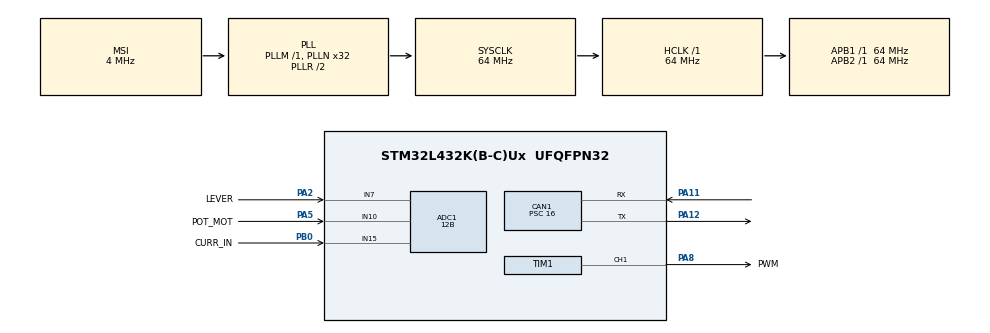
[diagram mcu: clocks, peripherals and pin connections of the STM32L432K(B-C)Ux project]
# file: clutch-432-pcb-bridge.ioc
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ADC1.Channel-0\#ChannelRegularConversion=ADC_CHANNEL_7
ADC1.Channel-1\#ChannelRegularConversion=ADC_CHANNEL_10
ADC1.Channel-2\#ChannelRegularConversion=ADC_CHANNEL_15
ADC1.ClockPrescaler=ADC_CLOCK_ASYNC_DIV16
ADC1.ContinuousConvMode=ENABLE
ADC1.DMAContinuousRequests=ENABLE
ADC1.DiscontinuousConvMode=DISABLE
ADC1.NbrOfConversion=3
ADC1.NbrOfConversionFlag=1
ADC1.OffsetNumber-0\#ChannelRegularConversion=ADC_OFFSET_NONE
ADC1.OffsetNumber-1\#ChannelRegularConversion=ADC_OFFSET_NONE
ADC1.OffsetNumber-2\#ChannelRegularConversion=ADC_OFFSET_NONE
ADC1.Rank-0\#ChannelRegularConversion=1
ADC1.Rank-1\#ChannelRegularConversion=2
ADC1.Rank-2\#ChannelRegularConversion=3
ADC1.Resolution=ADC_RESOLUTION_12B
ADC1.SamplingTime-0\#ChannelRegularConversion=ADC_SAMPLETIME_92CYCLES_5
ADC1.SamplingTime-1\#ChannelRegularConversion=ADC_SAMPLETIME_92CYCLES_5
ADC1.SamplingTime-2\#ChannelRegularConversion=ADC_SAMPLETIME_92CYCLES_5
ADC1.master=1
CAN1.BS1=CAN_BS1_2TQ
CAN1.BS2=CAN_BS2_1TQ
CAN1.CalculateBaudRate=1000000
CAN1.CalculateTimeBit=1000
CAN1.CalculateTimeQuantum=250.0
CAN1.Prescaler=16
Dma.ADC1.0.Direction=DMA_PERIPH_TO_MEMORY
Dma.ADC1.0.Instance=DMA1_Channel1
Dma.ADC1.0.MemDataAlignment=DMA_MDATAALIGN_HALFWORD
Dma.ADC1.0.MemInc=DMA_MINC_ENABLE
Dma.ADC1.0.Mode=DMA_CIRCULAR
Dma.ADC1.0.PeriphDataAlignment=DMA_PDATAALIGN_HALFWORD
Dma.ADC1.0.PeriphInc=DMA_PINC_DISABLE
Dma.ADC1.0.Priority=DMA_PRIORITY_LOW
Dma.Request0=ADC1
Mcu.Family=STM32L4
Mcu.Name=STM32L432K(B-C)Ux
Mcu.Package=UFQFPN32
NVIC.DMA1_Channel1_IRQn=true\:0\:0\:false\:false\:true\:false\:true\:true
NVIC.PriorityGroup=NVIC_PRIORITYGROUP_4
NVIC.TIM1_BRK_TIM15_IRQn=true\:0\:0\:false\:false\:true\:true\:true\:true
NVIC.TIM1_UP_TIM16_IRQn=true\:0\:0\:false\:false\:true\:true\:true\:true
NVIC.TIM7_IRQn=true\:0\:0\:false\:false\:true\:true\:true\:true
PA0.Mode=HSE-External-Clock-Source-for-LittleOrca
PA0.Signal=RCC_CK_IN
PA11.Mode=CAN_Activate
PA11.Signal=CAN1_RX
PA12.Mode=CAN_Activate
PA12.Signal=CAN1_TX
PA2.GPIO_Label=LEVER
PA2.Signal=ADCx_IN7
PA5.GPIO_Label=POT_MOT
PA5.Signal=ADCx_IN10
PA8.GPIO_Label=PWM
PA8.Signal=S_TIM1_CH1
PB0.GPIO_Label=CURR_IN
PB0.Signal=ADCx_IN15
ProjectManager.HeapSize=0x200
ProjectManager.StackSize=0x400
ProjectManager.TargetToolchain=STM32CubeIDE
RCC.ADCFreq_Value=8000000
RCC.AHBFreq_Value=64000000
RCC.APB1Freq_Value=64000000
RCC.APB1TimFreq_Value=64000000
RCC.APB2Freq_Value=64000000
RCC.APB2TimFreq_Value=64000000
RCC.CortexFreq_Value=64000000
RCC.HCLKFreq_Value=64000000
RCC.HSE_VALUE=8000000
RCC.HSI48_VALUE=48000000
RCC.HSI_VALUE=16000000
RCC.LSE_VALUE=32768
RCC.MSI_VALUE=4000000
RCC.PLLN=32
RCC.PLLSAI1N=16
RCC.PLLSAI1R=RCC_PLLR_DIV8
RCC.SYSCLKFreq_VALUE=64000000
RCC.SYSCLKSource=RCC_SYSCLKSOURCE_PLLCLK
RCC.USBFreq_Value=32000000
RCC.VCOOutputFreq_Value=128000000
SH.ADCx_IN10.0=ADC1_IN10,IN10-Single-Ended
SH.ADCx_IN15.0=ADC1_IN15,IN15-Single-Ended
SH.ADCx_IN7.0=ADC1_IN7,IN7-Single-Ended
SH.S_TIM1_CH1.0=TIM1_CH1,PWM Generation1 CH1
TIM1.Channel-PWM\ Generation1\ CH1=TIM_CHANNEL_1
TIM1.Period=100-1
TIM1.Prescaler=80-1
TIM1.Pulse-PWM\ Generation1\ CH1=50
TIM7.Period=40 - 1
TIM7.Prescaler=100 - 1
VP_TIM1_VS_ClockSourceINT.Mode=Internal
VP_TIM7_VS_ClockSourceINT.Mode=Enable_Timer
board=custom

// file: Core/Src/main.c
/* USER CODE BEGIN Header */
/**
  ******************************************************************************
  * @file           : main.c
  * @brief          : Main program body
  ******************************************************************************
  * @attention
  *
  * Copyright (c) 2022 STMicroelectronics.
  * All rights reserved.
  *
  * This software is licensed under terms that can be found in the LICENSE file
  * in the root directory of this software component.
  * If no LICENSE file comes with this software, it is provided AS-IS.
  *
  ******************************************************************************
  */
/* USER CODE END Header */
#include "main.h"

/* USER CODE BEGIN Includes */
#include <stdbool.h>
#include "mmr_can.h"
/* USER CODE END Includes */

/* USER CODE BEGIN PD */
#define POT 1
#define LEVER 0
#define CURRENT 2
/* USER CODE END PD */

 ADC_HandleTypeDef hadc1;
DMA_HandleTypeDef hdma_adc1;

CAN_HandleTypeDef hcan1;

TIM_HandleTypeDef htim1;
TIM_HandleTypeDef htim7;

void SystemClock_Config(void);
static void MX_GPIO_Init(void);
static void MX_DMA_Init(void);
static void MX_ADC1_Init(void);
static void MX_TIM1_Init(void);
static void MX_TIM7_Init(void);
static void MX_CAN1_Init(void);

/* USER CODE BEGIN 0 */
float lever;
float potMot;
float errorPos;
int delay;
int tick;
float currentError;
extern float current;
float tolerance = 0.04f;
float lower_tolerance = 0.04f;
float additional_tolerance = 0.06f;

bool engage = false;
DrivingMode mode = MANUAL;
ErrorState state = OK;
//PID POSITION
const PIDSaturation saturations1 = {
		min: 1.2f,
		max: 2.0f,
};

const PIDParameters parameters1 = {
	p: 7.53f * 3.0f * 3.0f,
	i: 8.6f * 3.0f,
	d: 1.4f * 1.5f*0.5f
};

PID pid1;

// PID CURRENT
const PIDSaturation saturations2 = {
		min: 0.2f,
		max: 0.8f,
};

const PIDParameters parameters2 = {
	p: 0.01f,
	i: 0.01f*(1050.0f),
	d: 0.0f,
};

PID pid2;

const float sampleTime = 1.0f / 16000.0f;
const float tau = 1.0f/14565.0f;

//CLUTCH
const ClutchIndexes indexes = {
	motorPotentiometer: POT,
	lever: LEVER,
	current: CURRENT,
};

Clutch clutch;
int s;
// ADC arrays
AdcValue ADC_values[BUFFER_LENGTH];
/* USER CODE END 0 */

int main(void)
{
  /* USER CODE BEGIN 1 */
	lever = 0;
	potMot = 0;
	errorPos = 0;
	tick = 0;
  /* USER CODE END 1 */

  /* MCU Configuration--------------------------------------------------------*/

  /* Reset of all peripherals, Initializes the Flash interface and the Systick. */
  HAL_Init();

  /* Configure the system clock */
  SystemClock_Config();

  /* Initialize all configured peripherals */
  MX_GPIO_Init();
  MX_DMA_Init();
  MX_ADC1_Init();
  MX_TIM1_Init();
  MX_TIM7_Init();
  MX_CAN1_Init();
  /* USER CODE BEGIN 2 */

  if (MMR_CAN_BasicSetupAndStart(&hcan1) != HAL_OK) {
    Error_Handler();
  }

  pid1 = PIDInit(
	  saturations1,
	  parameters1,
	  sampleTime,
	  tau
  );

  pid2 = PIDInit(
	  saturations2,
	  parameters2,
	  sampleTime,
	  tau
  );

  ClutchPID clutchPID = {
	  pid1: &pid1,
	  pid2: &pid2,
  };

  clutch = clutchInit(indexes, clutchPID, ADC_values);
  setDrivingMode(&clutch, mode);

  HAL_ADC_Start_DMA(&hadc1, (uint16_t *)ADC_values, BUFFER_LENGTH);

  HAL_TIM_Base_Start(&htim1); // TIM1 Start
  HAL_TIM_PWM_Start(&htim1, TIM_CHANNEL_1); // PWM Start on TIM1
  HAL_TIM_Base_Start_IT(&htim7); // PID Sampling timer start

  CanRxBuffer buffer = {};
  MmrCanMessage message = {
		  .store = buffer
  };
  uint32_t start = uwTick;

  //HAL_GPIO_WritePin(GPIOB, GPIO_PIN_1, GPIO_PIN_SET);
  /* USER CODE END 2 */

  /* Infinite loop */
  /* USER CODE BEGIN WHILE */
  while (1)
  {
	  /*uint8_t pendingMessages = HAL_CAN_GetRxFifoFillLevel(&hcan1, MMR_CAN_RX_FIFO);

	  if (pendingMessages <= 0) {
		  continue;
	  }

	  if (MMR_CAN_Receive(&hcan1, &message) != HAL_OK) {
		  ;
	  }

	  volatile int id = message.header.messageId;

	  continue;*/
    /* USER CODE END WHILE */

    /* USER CODE BEGIN 3 */

	  MmrCanPacket packetOpenClutch = {
			  .header.messageId = MMR_CAN_MESSAGE_ID_CS_CLUTCH_PULL_OK,
	  };

	  MmrCanPacket packetEngagedClutch = {
			  .header.messageId = MMR_CAN_MESSAGE_ID_CS_CLUTCH_RELEASE_OK,
	  };

	  MmrCanPacket packetErrorState = {
	  		  .header.messageId = MMR_CAN_MESSAGE_ID_CS_CLUTCH_POTENTIOMETER_OUT_OF_RANGE,
	  };

	  // ALL MODES

	  if(uwTick - start >= 100) {
		  start = uwTick;
		  if(clutch.state == POTENTIOMETER_OUT_OF_RANGE) {
			  MMR_CAN_Send(&hcan1, packetErrorState);
		  }
	  }

	  //AUTONOMOUS

	  if(clutch.measuredAngle < OPEN_CLUTCH_ANGLE + 0.1f && clutch.inProgress && !engage && uwTick - start >= 100) {
		  start = uwTick;
		  if(clutch.mode == AUTONOMOUS) {
			  MMR_CAN_Send(&hcan1, packetOpenClutch);
			  clutch.inProgress = false;
		  }
	  }

	  if(clutch.measuredAngle > ENGAGED_CLUTCH_ANGLE - 0.25f && clutch.inProgress && engage && uwTick - start >= 100) {
		  start = uwTick;
		  if(clutch.mode == AUTONOMOUS) {
			  MMR_CAN_Send(&hcan1, packetEngagedClutch);
			  clutch.inProgress = false;
		  }
	  }

	  //MANUAL

	  if(clutch.measuredAngle < OPEN_CLUTCH_ANGLE + 0.1f && uwTick - start >= 100) {
		  start = uwTick;
		  if(clutch.mode == MANUAL) {
			  MMR_CAN_Send(&hcan1, packetOpenClutch);
		  }
	  }

	  if(clutch.measuredAngle > ENGAGED_CLUTCH_ANGLE - 0.25f && uwTick - start >= 100) {
		  start = uwTick;
		  if(clutch.mode == MANUAL) {
			  MMR_CAN_Send(&hcan1, packetEngagedClutch);
		  }
	  }

	  uint32_t messages = HAL_CAN_GetRxFifoFillLevel(&hcan1, MMR_CAN_RX_FIFO);

	  if(messages > 0) {
		  if(MMR_CAN_Receive(&hcan1, &message) != HAL_OK) {
			  //Error_Handler();
		  }

		  switch(message.header.messageId) {
		  	  case MMR_CAN_MESSAGE_ID_CS_CLUTCH_PULL:
				  setDrivingMode(&clutch, AUTONOMOUS);
				  engage = false;
				  clutch.inProgress = true;
		  		  break;

		  	  case MMR_CAN_MESSAGE_ID_CS_CLUTCH_RELEASE:
				  setDrivingMode(&clutch, AUTONOMOUS);
				  engage = true;
				  clutch.inProgress = true;
		  		  break;

		  	  case MMR_CAN_MESSAGE_ID_CS_CLUTCH_SET_MANUAL:
				  setDrivingMode(&clutch, MANUAL);
				  clutch.inProgress = false;
		  		  break;
		  }

	  }

	  potMot = clutch.measuredAngle;
	  lever = clutch.targetAngle;
  }
  /* USER CODE END 3 */
}

void SystemClock_Config(void)
{
  RCC_OscInitTypeDef RCC_OscInitStruct = {0};
  RCC_ClkInitTypeDef RCC_ClkInitStruct = {0};

  /** Configure the main internal regulator output voltage
  */
  if (HAL_PWREx_ControlVoltageScaling(PWR_REGULATOR_VOLTAGE_SCALE1) != HAL_OK)
  {
    Error_Handler();
  }

  /** Initializes the RCC Oscillators according to the specified parameters
  * in the RCC_OscInitTypeDef structure.
  */
  RCC_OscInitStruct.OscillatorType = RCC_OSCILLATORTYPE_MSI;
  RCC_OscInitStruct.MSIState = RCC_MSI_ON;
  RCC_OscInitStruct.MSICalibrationValue = 0;
  RCC_OscInitStruct.MSIClockRange = RCC_MSIRANGE_6;
  RCC_OscInitStruct.PLL.PLLState = RCC_PLL_ON;
  RCC_OscInitStruct.PLL.PLLSource = RCC_PLLSOURCE_MSI;
  RCC_OscInitStruct.PLL.PLLM = 1;
  RCC_OscInitStruct.PLL.PLLN = 32;
  RCC_OscInitStruct.PLL.PLLP = RCC_PLLP_DIV7;
  RCC_OscInitStruct.PLL.PLLQ = RCC_PLLQ_DIV2;
  RCC_OscInitStruct.PLL.PLLR = RCC_PLLR_DIV2;
  if (HAL_RCC_OscConfig(&RCC_OscInitStruct) != HAL_OK)
  {
    Error_Handler();
  }

  /** Initializes the CPU, AHB and APB buses clocks
  */
  RCC_ClkInitStruct.ClockType = RCC_CLOCKTYPE_HCLK|RCC_CLOCKTYPE_SYSCLK
                              |RCC_CLOCKTYPE_PCLK1|RCC_CLOCKTYPE_PCLK2;
  RCC_ClkInitStruct.SYSCLKSource = RCC_SYSCLKSOURCE_PLLCLK;
  RCC_ClkInitStruct.AHBCLKDivider = RCC_SYSCLK_DIV1;
  RCC_ClkInitStruct.APB1CLKDivider = RCC_HCLK_DIV1;
  RCC_ClkInitStruct.APB2CLKDivider = RCC_HCLK_DIV1;

  if (HAL_RCC_ClockConfig(&RCC_ClkInitStruct, FLASH_LATENCY_3) != HAL_OK)
  {
    Error_Handler();
  }
}

static void MX_ADC1_Init(void)
{

  ADC_ChannelConfTypeDef sConfig = {0};

  /** Common config
  */
  hadc1.Instance = ADC1;
  hadc1.Init.ClockPrescaler = ADC_CLOCK_ASYNC_DIV16;
  hadc1.Init.Resolution = ADC_RESOLUTION_12B;
  hadc1.Init.DataAlign = ADC_DATAALIGN_RIGHT;
  hadc1.Init.ScanConvMode = ADC_SCAN_ENABLE;
  hadc1.Init.EOCSelection = ADC_EOC_SINGLE_CONV;
  hadc1.Init.LowPowerAutoWait = DISABLE;
  hadc1.Init.ContinuousConvMode = ENABLE;
  hadc1.Init.NbrOfConversion = 3;
  hadc1.Init.DiscontinuousConvMode = DISABLE;
  hadc1.Init.ExternalTrigConv = ADC_SOFTWARE_START;
  hadc1.Init.ExternalTrigConvEdge = ADC_EXTERNALTRIGCONVEDGE_NONE;
  hadc1.Init.DMAContinuousRequests = ENABLE;
  hadc1.Init.Overrun = ADC_OVR_DATA_PRESERVED;
  hadc1.Init.OversamplingMode = DISABLE;
  if (HAL_ADC_Init(&hadc1) != HAL_OK)
  {
    Error_Handler();
  }

  /** Configure Regular Channel
  */
  sConfig.Channel = ADC_CHANNEL_7;
  sConfig.Rank = ADC_REGULAR_RANK_1;
  sConfig.SamplingTime = ADC_SAMPLETIME_92CYCLES_5;
  sConfig.SingleDiff = ADC_SINGLE_ENDED;
  sConfig.OffsetNumber = ADC_OFFSET_NONE;
  sConfig.Offset = 0;
  if (HAL_ADC_ConfigChannel(&hadc1, &sConfig) != HAL_OK)
  {
    Error_Handler();
  }

  /** Configure Regular Channel
  */
  sConfig.Channel = ADC_CHANNEL_10;
  sConfig.Rank = ADC_REGULAR_RANK_2;
  if (HAL_ADC_ConfigChannel(&hadc1, &sConfig) != HAL_OK)
  {
    Error_Handler();
  }

  /** Configure Regular Channel
  */
  sConfig.Channel = ADC_CHANNEL_15;
  sConfig.Rank = ADC_REGULAR_RANK_3;
  if (HAL_ADC_ConfigChannel(&hadc1, &sConfig) != HAL_OK)
  {
    Error_Handler();
  }

}

static void MX_CAN1_Init(void)
{

  hcan1.Instance = CAN1;
  hcan1.Init.Prescaler = 16;
  hcan1.Init.Mode = CAN_MODE_NORMAL;
  hcan1.Init.SyncJumpWidth = CAN_SJW_1TQ;
  hcan1.Init.TimeSeg1 = CAN_BS1_2TQ;
  hcan1.Init.TimeSeg2 = CAN_BS2_1TQ;
  hcan1.Init.TimeTriggeredMode = DISABLE;
  hcan1.Init.AutoBusOff = DISABLE;
  hcan1.Init.AutoWakeUp = DISABLE;
  hcan1.Init.AutoRetransmission = DISABLE;
  hcan1.Init.ReceiveFifoLocked = DISABLE;
  hcan1.Init.TransmitFifoPriority = DISABLE;
  if (HAL_CAN_Init(&hcan1) != HAL_OK)
  {
    Error_Handler();
  }

}

static void MX_TIM1_Init(void)
{

  TIM_ClockConfigTypeDef sClockSourceConfig = {0};
  TIM_MasterConfigTypeDef sMasterConfig = {0};
  TIM_OC_InitTypeDef sConfigOC = {0};
  TIM_BreakDeadTimeConfigTypeDef sBreakDeadTimeConfig = {0};

  htim1.Instance = TIM1;
  htim1.Init.Prescaler = 80-1;
  htim1.Init.CounterMode = TIM_COUNTERMODE_UP;
  htim1.Init.Period = 100-1;
  htim1.Init.ClockDivision = TIM_CLOCKDIVISION_DIV1;
  htim1.Init.RepetitionCounter = 0;
  htim1.Init.AutoReloadPreload = TIM_AUTORELOAD_PRELOAD_DISABLE;
  if (HAL_TIM_Base_Init(&htim1) != HAL_OK)
  {
    Error_Handler();
  }
  sClockSourceConfig.ClockSource = TIM_CLOCKSOURCE_INTERNAL;
  if (HAL_TIM_ConfigClockSource(&htim1, &sClockSourceConfig) != HAL_OK)
  {
    Error_Handler();
  }
  if (HAL_TIM_PWM_Init(&htim1) != HAL_OK)
  {
    Error_Handler();
  }
  sMasterConfig.MasterOutputTrigger = TIM_TRGO_RESET;
  sMasterConfig.MasterOutputTrigger2 = TIM_TRGO2_RESET;
  sMasterConfig.MasterSlaveMode = TIM_MASTERSLAVEMODE_DISABLE;
  if (HAL_TIMEx_MasterConfigSynchronization(&htim1, &sMasterConfig) != HAL_OK)
  {
    Error_Handler();
  }
  sConfigOC.OCMode = TIM_OCMODE_PWM1;
  sConfigOC.Pulse = 50;
  sConfigOC.OCPolarity = TIM_OCPOLARITY_HIGH;
  sConfigOC.OCNPolarity = TIM_OCNPOLARITY_HIGH;
  sConfigOC.OCFastMode = TIM_OCFAST_DISABLE;
  sConfigOC.OCIdleState = TIM_OCIDLESTATE_RESET;
  sConfigOC.OCNIdleState = TIM_OCNIDLESTATE_RESET;
  if (HAL_TIM_PWM_ConfigChannel(&htim1, &sConfigOC, TIM_CHANNEL_1) != HAL_OK)
  {
    Error_Handler();
  }
  sBreakDeadTimeConfig.OffStateRunMode = TIM_OSSR_DISABLE;
  sBreakDeadTimeConfig.OffStateIDLEMode = TIM_OSSI_DISABLE;
  sBreakDeadTimeConfig.LockLevel = TIM_LOCKLEVEL_OFF;
  sBreakDeadTimeConfig.DeadTime = 0;
  sBreakDeadTimeConfig.BreakState = TIM_BREAK_DISABLE;
  sBreakDeadTimeConfig.BreakPolarity = TIM_BREAKPOLARITY_HIGH;
  sBreakDeadTimeConfig.BreakFilter = 0;
  sBreakDeadTimeConfig.Break2State = TIM_BREAK2_DISABLE;
  sBreakDeadTimeConfig.Break2Polarity = TIM_BREAK2POLARITY_HIGH;
  sBreakDeadTimeConfig.Break2Filter = 0;
  sBreakDeadTimeConfig.AutomaticOutput = TIM_AUTOMATICOUTPUT_DISABLE;
  if (HAL_TIMEx_ConfigBreakDeadTime(&htim1, &sBreakDeadTimeConfig) != HAL_OK)
  {
    Error_Handler();
  }
  HAL_TIM_MspPostInit(&htim1);

}

static void MX_TIM7_Init(void)
{

  TIM_MasterConfigTypeDef sMasterConfig = {0};

  htim7.Instance = TIM7;
  htim7.Init.Prescaler = 100 - 1;
  htim7.Init.CounterMode = TIM_COUNTERMODE_UP;
  htim7.Init.Period = 40 - 1;
  htim7.Init.AutoReloadPreload = TIM_AUTORELOAD_PRELOAD_DISABLE;
  if (HAL_TIM_Base_Init(&htim7) != HAL_OK)
  {
    Error_Handler();
  }
  sMasterConfig.MasterOutputTrigger = TIM_TRGO_RESET;
  sMasterConfig.MasterSlaveMode = TIM_MASTERSLAVEMODE_DISABLE;
  if (HAL_TIMEx_MasterConfigSynchronization(&htim7, &sMasterConfig) != HAL_OK)
  {
    Error_Handler();
  }

}

static void MX_DMA_Init(void)
{

  /* DMA controller clock enable */
  __HAL_RCC_DMA1_CLK_ENABLE();

  /* DMA interrupt init */
  /* DMA1_Channel1_IRQn interrupt configuration */
  HAL_NVIC_SetPriority(DMA1_Channel1_IRQn, 0, 0);
  HAL_NVIC_EnableIRQ(DMA1_Channel1_IRQn);

}

static void MX_GPIO_Init(void)
{

  /* GPIO Ports Clock Enable */
  __HAL_RCC_GPIOA_CLK_ENABLE();
  __HAL_RCC_GPIOB_CLK_ENABLE();

}

void Error_Handler(void)
{
  __disable_irq();
  while (1)
  {
  }
}
